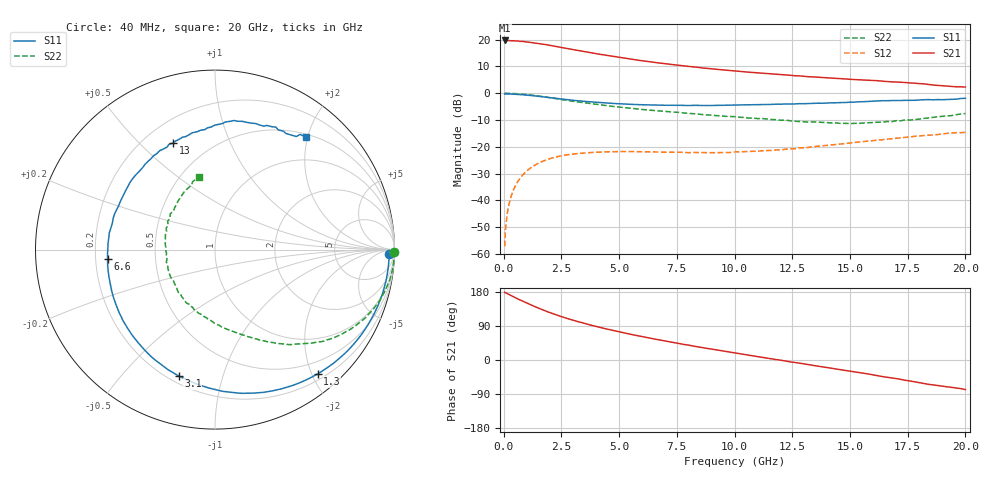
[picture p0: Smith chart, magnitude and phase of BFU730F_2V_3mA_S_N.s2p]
! Filename:  P:\Prog\Test\Noise\ATS_data\Testdata_Net\BFU730\BFU730_2W_B1_2V3mA_D.s2p
! Date/Time: Fri 29/Apr/2011 14:13:56
! BFU730_2W_B1_2V3mA
! bias mode 1: Vout= 2.0003 V, Iout= 2.9850 mA, Vin= 0.7749 V, Iin= 0.0084 mA
! Date/time Thu Mar 17 09:20:02 2011
! Device data file deembeded for feedlines and parallel
! Original file: \BFU730\BFU730_2W_B1_2V3mA_R.s2p
! Feed-files: PR003V01_101208_Feed1.s2p, PR003V01_101208_Feed2.s2p
! Parallel-file: PR003V01_101208_Par.s2p
# MHz S MA R 50
!  Freq-MHz  S11-mag  S11-arg  S21-mag  S21-arg  S12-mag  S12-arg  S22-mag  S22-arg
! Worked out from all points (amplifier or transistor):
!   167 points, 40 MHz to 20 GHz, reference 50 ohm
!   highest |S21| = 19.7 dB at 50 MHz (marker M1)
!   |S21| within 3 dB of that: start of sweep to 2.74 GHz
!   unconditionally stable (mu >= 1): 7.955 GHz to 16.16 GHz
!   at 550 MHz: K = 0.04, MSG = 26.7 dB, |S12| = -33.9 dB
!   at 4.2 GHz: K = 0.45, MSG = 18.2 dB, |S12| = -22.0 dB
!   at 20 GHz: K = 0.77, MSG = 8.5 dB, |S12| = -14.6 dB
!   lowest NFmin = 0.41 dB at 400 MHz
!   S11 on the Smith chart (normalised r, x): 40 MHz: 36, -34; 1.3 GHz: 0.29, -2.09; 3.1 GHz: 0.24, -0.72; 6.6 GHz: 0.25, -0.04; 13 GHz: 0.32, +0.64; 20 GHz: 0.55, +1.98
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40  0.9709 -1.6  9.662 178.9  0.001393 86.3  0.999 -0.8
50  0.9745 -2.1  9.691 178.1  0.001427 91.0  0.9984 -1.0
140  0.9704 -5.5  9.637 175.8  0.005083 87.5  0.9988 -2.8
360  0.9651 -14.4  9.536 168.9  0.01327 82.5  0.9932 -7.4
800  0.94 -31.9  9.338 155.9  0.02892 71.5  0.9647 -16.2
1300  0.898 -50.5  8.718 142.2  0.04415 60.0  0.9123 -25.4
1600  0.8689 -61.2  8.406 134.6  0.05175 54.0  0.8774 -30.2
2050  0.8237 -76.2  7.781 123.9  0.06089 45.7  0.8206 -36.9
2450  0.785 -88.4  7.242 115.5  0.06729 39.4  0.7694 -42.1
3100  0.7324 -106.1  6.424 103.3  0.07387 30.3  0.6999 -48.8
3400  0.7114 -113.6  6.102 98.2  0.0761 26.8  0.6726 -51.9
4000  0.6767 -127.6  5.5 88.6  0.07914 20.8  0.6203 -57.2
4800  0.6437 -144.2  4.831 77.0  0.0811 14.3  0.5639 -63.5
5600  0.6188 -158.8  4.282 66.5  0.08139 9.1  0.5177 -69.4
6600  0.6009 -175.0  3.739 54.6  0.08002 4.6  0.4733 -76.4
6800  0.5992 -178.0  3.647 52.4  0.07976 4.0  0.4652 -77.8
8200  0.5936 162.7  3.118 36.9  0.07856 1.6  0.4159 -89.1
10200  0.6053 139.4  2.576 16.7  0.08049 2.2  0.3566 -107.3
13000  0.6378 111.3  2.078 -10.2  0.09577 2.9  0.294 -140.3
13400  0.6458 108.2  2.023 -14.1  0.1007 2.2  0.2916 -146.7
16800  0.7307 78.0  1.632 -47.2  0.1412 -8.9  0.2938 152.5
20000  0.8067 51.0  1.307 -78.0  0.1859 -29.1  0.417 102.5
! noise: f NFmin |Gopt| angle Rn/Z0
400  0.4081  0.6173  6.23  0.1917
850  0.4349  0.5735  16.6  0.1903
1500  0.4762  0.5313  31.22  0.1846
2150  0.5204  0.5041  44.88  0.1753
3100  0.5905  0.4737  63.08  0.157
4300  0.6881  0.4339  84.78  0.1291
6200  0.8635  0.3768  123  0.0858
8800  1.145  0.4193  179.6  0.0604
1.14e+04  1.474  0.5298  219.1  0.1206
1.4e+04  1.851  0.533  260.2  0.3173
